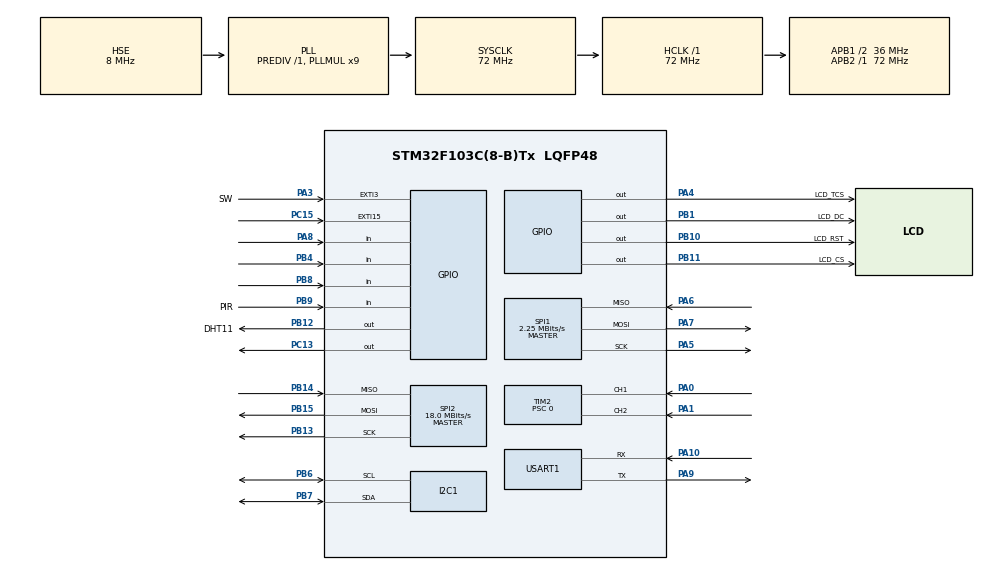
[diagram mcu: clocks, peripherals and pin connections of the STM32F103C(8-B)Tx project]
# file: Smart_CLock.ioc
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Dma.Request0=SPI2_TX
Dma.SPI2_TX.0.Direction=DMA_MEMORY_TO_PERIPH
Dma.SPI2_TX.0.Instance=DMA1_Channel5
Dma.SPI2_TX.0.MemDataAlignment=DMA_MDATAALIGN_BYTE
Dma.SPI2_TX.0.MemInc=DMA_MINC_ENABLE
Dma.SPI2_TX.0.Mode=DMA_NORMAL
Dma.SPI2_TX.0.PeriphDataAlignment=DMA_PDATAALIGN_BYTE
Dma.SPI2_TX.0.PeriphInc=DMA_PINC_DISABLE
Dma.SPI2_TX.0.Priority=DMA_PRIORITY_LOW
Mcu.Family=STM32F1
Mcu.Name=STM32F103C(8-B)Tx
Mcu.Package=LQFP48
NVIC.DMA1_Channel5_IRQn=true\:0\:0\:false\:false\:true\:false\:true\:true
NVIC.EXTI15_10_IRQn=true\:0\:0\:false\:false\:true\:true\:true\:true
NVIC.PriorityGroup=NVIC_PRIORITYGROUP_4
NVIC.TIM2_IRQn=true\:0\:0\:false\:false\:true\:true\:true\:true
PA0-WKUP.Signal=S_TIM2_CH1_ETR
PA1.Signal=S_TIM2_CH2
PA10.Mode=Asynchronous
PA10.Signal=USART1_RX
PA13.Mode=Serial_Wire
PA13.Signal=SYS_JTMS-SWDIO
PA14.Mode=Serial_Wire
PA14.Signal=SYS_JTCK-SWCLK
PA3.GPIO_Label=SW
PA3.Signal=GPXTI3
PA4.GPIO_Label=LCD_TCS
PA4.GPIO_PuPd=GPIO_PULLUP
PA4.Signal=GPIO_Output
PA5.Mode=Full_Duplex_Master
PA5.Signal=SPI1_SCK
PA6.Mode=Full_Duplex_Master
PA6.Signal=SPI1_MISO
PA7.Mode=Full_Duplex_Master
PA7.Signal=SPI1_MOSI
PA8.Signal=GPIO_Input
PA9.Mode=Asynchronous
PA9.Signal=USART1_TX
PB1.GPIO_Label=LCD_DC
PB1.Signal=GPIO_Output
PB10.GPIO_Label=LCD_RST
PB10.Signal=GPIO_Output
PB11.GPIO_Label=LCD_CS
PB11.Signal=GPIO_Output
PB12.GPIO_Label=DHT11
PB12.Signal=GPIO_Output
PB13.Mode=Full_Duplex_Master
PB13.Signal=SPI2_SCK
PB14.Mode=Full_Duplex_Master
PB14.Signal=SPI2_MISO
PB15.Mode=Full_Duplex_Master
PB15.Signal=SPI2_MOSI
PB4.Signal=GPIO_Input
PB6.Mode=I2C
PB6.Signal=I2C1_SCL
PB7.Mode=I2C
PB7.Signal=I2C1_SDA
PB8.Signal=GPIO_Input
PB9.GPIO_Label=PIR
PB9.Signal=GPIO_Input
PC13-TAMPER-RTC.Signal=GPIO_Output
PC15-OSC32_OUT.Signal=GPXTI15
PD0-OSC_IN.Mode=HSE-External-Oscillator
PD0-OSC_IN.Signal=RCC_OSC_IN
PD1-OSC_OUT.Mode=HSE-External-Oscillator
PD1-OSC_OUT.Signal=RCC_OSC_OUT
ProjectManager.HeapSize=0x200
ProjectManager.StackSize=0x400
ProjectManager.TargetToolchain=STM32CubeIDE
RCC.AHBFreq_Value=72000000
RCC.APB1CLKDivider=RCC_HCLK_DIV2
RCC.APB1Freq_Value=36000000
RCC.APB1TimFreq_Value=72000000
RCC.APB2Freq_Value=72000000
RCC.APB2TimFreq_Value=72000000
RCC.HCLKFreq_Value=72000000
RCC.PLLMUL=RCC_PLL_MUL9
RCC.PLLSourceVirtual=RCC_PLLSOURCE_HSE
RCC.SYSCLKFreq_VALUE=72000000
RCC.SYSCLKSource=RCC_SYSCLKSOURCE_PLLCLK
RCC.USBFreq_Value=48000000
RCC.USBPrescaler=RCC_USBCLKSOURCE_PLL_DIV1_5
SH.S_TIM2_CH1_ETR.0=TIM2_CH1,Encoder_Interface
SH.S_TIM2_CH2.0=TIM2_CH2,Encoder_Interface
SPI1.BaudRatePrescaler=SPI_BAUDRATEPRESCALER_32
SPI1.CalculateBaudRate=2.25 MBits/s
SPI1.Direction=SPI_DIRECTION_2LINES
SPI1.Mode=SPI_MODE_MASTER
SPI1.VirtualType=VM_MASTER
SPI2.BaudRatePrescaler=SPI_BAUDRATEPRESCALER_2
SPI2.CalculateBaudRate=18.0 MBits/s
SPI2.Direction=SPI_DIRECTION_2LINES
SPI2.Mode=SPI_MODE_MASTER
SPI2.VirtualType=VM_MASTER
TIM2.EncoderMode=TIM_ENCODERMODE_TI12
TIM2.IC1Filter=0
TIM2.IC1Polarity=TIM_ICPOLARITY_FALLING
TIM2.IC2Filter=0
TIM2.IC2Polarity=TIM_ICPOLARITY_FALLING
TIM2.Prescaler=0
TIM3.Period=65535
TIM3.Prescaler=71
TIM4.Period=999
TIM4.Prescaler=71
USART1.VirtualMode=VM_ASYNC
VP_TIM3_VS_ClockSourceINT.Mode=Internal
VP_TIM4_VS_ClockSourceINT.Mode=Internal
board=custom

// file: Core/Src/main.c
/* USER CODE BEGIN Header */
/**
  ******************************************************************************
  * @file           : main.c
  * @brief          : Main program body
  ******************************************************************************
  * @attention
  *
  * Copyright (c) 2025 STMicroelectronics.
  * All rights reserved.
  *
  * This software is licensed under terms that can be found in the LICENSE file
  * in the root directory of this software component.
  * If no LICENSE file comes with this software, it is provided AS-IS.
  *
  ******************************************************************************
  */
/* USER CODE END Header */
#include "main.h"

/* USER CODE BEGIN Includes */
#include "Delay_us.h"
#include "DHT.h"
#include "ds3231_i2c.h"
#include "pir_am312.h"
#include "ili9341_display.h"
#include "ILI9341_GFX.h"
#include "ILI9341_STM32_Driver.h"
//#include "ili9341_touch.h"
//#include "touch.h"
/* USER CODE END Includes */

/* USER CODE BEGIN PD */
#define SELECT 				1
#define UNSELECT 			0
#define	BUZZER_ON  			0
#define BUZZER_OFF 			1
#define CURSOR_SIZE_X 		15
#define CURSOR_SIZE_Y 		23
#define ON 					1
#define OFF 				0
/* USER CODE END PD */

I2C_HandleTypeDef hi2c1;

SPI_HandleTypeDef hspi1;
SPI_HandleTypeDef hspi2;
DMA_HandleTypeDef hdma_spi2_tx;

TIM_HandleTypeDef htim2;
TIM_HandleTypeDef htim3;
TIM_HandleTypeDef htim4;

UART_HandleTypeDef huart1;

/* USER CODE BEGIN PV */
DS3231_I2C_HandleTypeDef p_DS3231;
DHT_HandleTypeDef hdht;

typedef enum {
	TIME_DISPLAY,
	SET_ALARM,
	SET_TIME,
	ALARM,
	SET_REPEAT_ALARM,
	MODE_MENU
} display_mode;

typedef enum {
	BUTTON_ON,
	BUTTON_OFF
} button_state;

typedef struct
{
	uint8_t second;
	uint8_t minute;
	uint8_t hour;
	uint8_t day;
	uint8_t date;
	uint8_t month;
	uint8_t year;
}Time;

Time time_now;
Time time_alarm;
Time time_adjust;

uint8_t updatetime;
uint8_t clear = ON;
uint16_t x_cursor;
uint16_t y_cursor;

uint8_t dht[5];
uint8_t hum;
uint8_t temp;

uint8_t remove_tick_x = 14;
uint8_t remove_tick_y = 10;
uint8_t tick[8]={0};

uint32_t blink_delay = 200;  //Default delay

// Bien dem cho Rotary Encoder
uint32_t rawCounter = 0;
uint16_t encoder_pos = 0;
uint16_t pre_encoder_pos = 0;

display_mode mode = TIME_DISPLAY;
/* USER CODE END PV */

void SystemClock_Config(void);
static void MX_GPIO_Init(void);
static void MX_DMA_Init(void);
static void MX_TIM2_Init(void);
static void MX_I2C1_Init(void);
static void MX_SPI1_Init(void);
static void MX_SPI2_Init(void);
static void MX_USART1_UART_Init(void);
static void MX_TIM3_Init(void);
static void MX_TIM4_Init(void);

/* USER CODE BEGIN 0 */
void HAL_TIM_IC_CaptureCallback(TIM_HandleTypeDef *htim)
{
	rawCounter = __HAL_TIM_GET_COUNTER(htim);
	encoder_pos  = (rawCounter/2)%21;  // Moi lan xoay tang 2 don vi; Dem tu 0-20
}
void HAL_GPIO_EXTI_Callback(uint16_t GPIO_Pin)
{
	if (GPIO_Pin == SW_Pin)
	{
	    if (HAL_GPIO_ReadPin(SW_GPIO_Port, SW_Pin) == GPIO_PIN_RESET)
	    {
	    	if (mode == TIME_DISPLAY)
	    	{
	    		mode = MODE_MENU;
	    		clear = ON;
	    	}
	    	if (mode == MODE_MENU)
	    	{
	    		if (y_cursor == 119)
	    		{
	    			mode = TIME_DISPLAY;
	    			clear = ON;
	    		}
	    		if (y_cursor == 144)
	    		{
	    			mode = SET_ALARM;
	    			clear = ON;
	    			x_cursor = 68;
	    			y_cursor = 120;
//	    			updatetime = ON;
	    		}
	    		if (y_cursor == 169)
	    		{
	    			mode = SET_TIME;
	    			clear = ON;
	    		}
	    	}
	    	if (mode == SET_ALARM)
	    	{
	    		if (x_cursor == 105 && y_cursor == 293)
	    		{
	    			mode = SET_REPEAT_ALARM;
	    			clear = ON;
	    			HAL_Delay(200);
	    		}
	    		else
	    		{
	    			ILI9341_move_cursor(&x_cursor, &y_cursor);
	    		}
	    	}
	    	if (mode == SET_REPEAT_ALARM)
	    	{
	    		select_unselect_the_day(x_cursor, y_cursor, tick, remove_tick_x, remove_tick_y);
	    	}
	    }
	 }
}
/* USER CODE END 0 */

int main(void)
{

  /* MCU Configuration--------------------------------------------------------*/

  /* Reset of all peripherals, Initializes the Flash interface and the Systick. */
  HAL_Init();

  /* Configure the system clock */
  SystemClock_Config();

  /* Initialize all configured peripherals */
  MX_GPIO_Init();
  MX_DMA_Init();
  MX_TIM2_Init();
  MX_I2C1_Init();
  MX_SPI1_Init();
  MX_SPI2_Init();
  MX_USART1_UART_Init();
  MX_TIM3_Init();
  MX_TIM4_Init();
  /* USER CODE BEGIN 2 */
  ds3231_i2c_init(&p_DS3231, &hi2c1, 0x68);
  PIR_AM312_Init(PIR_GPIO_Port, PIR_Pin);
  DELAY_US_Init(&htim3);
  DHT_Init(&hdht, DHT11, DHT11_GPIO_Port, DHT11_Pin);

  // Start Timer in Encoder mode
  HAL_TIM_Encoder_Start(&htim2, TIM_CHANNEL_ALL);

  ILI9341_Init();
  ILI9341_FillScreen(WHITE);

  time_now.hour = 10;
  time_now.minute = 30;
  time_now.second = 30;
  time_now.day = 1;
  time_now.date = 20;
  time_now.month = 02;
  time_now.year = 25;

  time_alarm.hour = 00;
  time_alarm.minute = 00;
  time_alarm.second = 00;
  time_alarm.day = 1;
  time_alarm.date = 00;
  time_alarm.month = 00;
  time_alarm.year = 00;

  time_adjust.hour = 00;
  time_adjust.minute = 00;
  time_adjust.second = 00;
  time_adjust.day = 1;
  time_adjust.date = 00;
  time_adjust.month = 00;
  time_adjust.year = 00;

  ds3231_set_time(&p_DS3231, time_now.hour, time_now.minute, time_now.second, time_now.day,
     		                 time_now.date, time_now.month, time_now.year);

  HAL_GPIO_WritePin(GPIOB, GPIO_PIN_0, BUZZER_OFF);

  /* USER CODE END 2 */

  /* Infinite loop */
  while (1)
  {

    /* USER CODE BEGIN 3 */
	// Ham doc Rotary Encoder
	HAL_TIM_IC_CaptureCallback(&htim2);

	HAL_GPIO_EXTI_Callback(SW_Pin);

//	  if ( pir_am312_get_data() == 1)
//	  {
//		  HAL_GPIO_WritePin(GPIOC, GPIO_PIN_13, GPIO_PIN_SET);
//	  }
//	  else
//	  {
//		  HAL_GPIO_WritePin(GPIOC, GPIO_PIN_13, GPIO_PIN_RESET);
//	  }

	switch (mode)
    {
	 	case MODE_MENU:
	 		if (clear == ON)
	 		{
	 			 x_cursor = 75;
	 			 y_cursor = 119;
	 			 ILI9341_FillScreen(WHITE);
	 			 //VE KHUNG
	 			 ILI9341_DrawthickHline(13, 47, 212, NAVY, 5);   // Canh tren
	 			 ILI9341_DrawthickHline(13, 280, 212, NAVY, 5); // Canh duoi
	 			 ILI9341_DrawthickVline(13, 47, 233, NAVY, 5);   // Canh ben trai
	 			 ILI9341_DrawthickVline(223, 47, 238, NAVY, 5); // Canh ben phai
	 			 ILI9341_DrawText("MENU", FONT6, 78, 65, RED, WHITE);
	 			 ILI9341_DrawText("TIME", FONT5, 82, 100, RED, WHITE);
	 			 ILI9341_DrawText("SET_ALARM", FONT5, 34, 125, RED, WHITE);
	 			 ILI9341_DrawText("SET_TIME", FONT5, 42, 150, RED, WHITE);
	 			 ILI9341_DrawText("", FONT5, 45, 175, RED, WHITE);
	 			 ILI9341_DrawText("", FONT5, 67, 200, RED, WHITE);
	 			 ILI9341_DrawText("", FONT5, 49, 225, RED, WHITE);
	 			 ILI9341_DrawText("", FONT5, 66, 250, RED, WHITE);

	 			 clear = OFF;
	 		}

	 		if (encoder_pos == pre_encoder_pos + 1)
	 		{
	 			move_cursor_down_in_repeat_alarm(&x_cursor, &y_cursor);
	 		}
	 		else if (encoder_pos == pre_encoder_pos - 1)
	 		{
	 			move_cursor_up_in_repeat_alarm(&x_cursor, &y_cursor);
	 		}
	 		pre_encoder_pos = encoder_pos;

	 		draw_cursor_in_repeat_alarm(x_cursor, y_cursor, 92, 3, GREEN);

	 	break;
	 	case TIME_DISPLAY:

	 		ds3231_read_time(&p_DS3231, &time_now.hour, &time_now.minute, &time_now.second,
	 			 	  	  		  	  	&time_now.day, &time_now.date, &time_now.month, &time_now.year);

	 		if (clear == ON)
	 		{
	 			ILI9341_FillScreen(WHITE);
	 			//VE KHUNG
	 			ILI9341_DrawthickHline(15, 47, 212, NAVY, 5);   // Canh tren
	 			ILI9341_DrawthickHline(15, 280, 212, NAVY, 5); // Canh duoi
	 			ILI9341_DrawthickVline(15, 47, 233, RED, 5);   // Canh ben trai
	 			ILI9341_DrawthickVline(223, 47, 238, NAVY, 5); // Canh ben phai
	 			ILI9341_DrawthickHline(15, 165, 212, NAVY, 5); // Canh o giua

	 			ILI9341_DrawText("TIME", FONT6, 89, 77, RED, WHITE);
	 			clear = OFF;
	 		 }

	 		send_time_to_ILI9341(time_now.hour, time_now.minute, time_now.second, 68, 120, RED, WHITE);
	 		send_date_to_ILI9341(time_now.date, time_now.month, time_now.year, 68, 240, RED, WHITE);
	 		ILI9341_DrawRectangle(23, 195, 195, 23, WHITE);
	 		send_day_to_ILI9341(time_now.day, RED, WHITE);

	 		HAL_Delay(1000);

	 	break;

		case SET_ALARM:

			if (clear == ON)
			{
				ILI9341_FillScreen(WHITE);
				//VE KHUNG
				ILI9341_DrawthickHline(15, 47, 212, NAVY, 5);   // Canh tren
				ILI9341_DrawthickHline(15, 302, 212, NAVY, 5); // Canh duoi
				ILI9341_DrawthickVline(15, 47, 255, NAVY, 5);   // Canh ben trai
				ILI9341_DrawthickVline(223, 47, 260, NAVY, 5); // Canh ben phai
				ILI9341_DrawthickHline(15, 165, 212, NAVY, 5); // Canh o giua

				ILI9341_DrawText("SET ALARM", FONT6, 32, 77, RED, WHITE);
				clear = OFF;
			}

			send_time_to_ILI9341(time_alarm.hour, time_alarm.minute, time_alarm.second, 68, 120, RED, WHITE);
			send_date_to_ILI9341(time_alarm.date, time_alarm.month, time_alarm.year, 68, 240, RED, WHITE);
			ILI9341_DrawRectangle(23, 195, 195, 23, WHITE);
			send_day_to_ILI9341(time_alarm.day, RED, WHITE);
			ILI9341_DrawText("OK", FONT6, 105, 270, RED, WHITE);

			if (encoder_pos == pre_encoder_pos + 1)
			{
				adjust_time_up(&time_alarm.hour, &time_alarm.minute, &time_alarm.second, &time_alarm.day,
					    	&time_alarm.date, &time_alarm.month, &time_alarm.year, x_cursor, y_cursor);
			}

			if (encoder_pos == pre_encoder_pos - 1)
			{
				adjust_time_down(&time_alarm.hour, &time_alarm.minute, &time_alarm.second, &time_alarm.day,
							   &time_alarm.date, &time_alarm.month, &time_alarm.year, x_cursor, y_cursor);
			}

			ILI9341_DrawCursor(x_cursor, y_cursor, CURSOR_SIZE_X, CURSOR_SIZE_Y, GREEN);

			HAL_Delay(1000);
		break;

		case SET_REPEAT_ALARM:

			if (clear == ON)
			{
				x_cursor = 78;
				y_cursor = 119;
				ILI9341_FillScreen(WHITE);
				//VE KHUNG
				ILI9341_DrawthickHline(13, 47, 212, NAVY, 5);   // Canh tren
				ILI9341_DrawthickHline(13, 280, 212, NAVY, 5); // Canh duoi
				ILI9341_DrawthickVline(13, 47, 233, NAVY, 5);   // Canh ben trai
				ILI9341_DrawthickVline(223, 47, 238, NAVY, 5); // Canh ben phai
				ILI9341_DrawText("REPEAT", FONT6, 64, 65, RED, WHITE);
				ILI9341_DrawText("MONDAY", FONT5, 60, 100, RED, WHITE);
				ILI9341_DrawText("TUESDAY", FONT5, 55, 125, RED, WHITE);
				ILI9341_DrawText("WEDNESDAY", FONT5, 19, 150, RED, WHITE);
				ILI9341_DrawText("THURSDAY", FONT5, 45, 175, RED, WHITE);
				ILI9341_DrawText("FRIDAY", FONT5, 67, 200, RED, WHITE);
				ILI9341_DrawText("SATURDAY", FONT5, 49, 225, RED, WHITE);
				ILI9341_DrawText("SUNDAY", FONT5, 66, 250, RED, WHITE);

				clear = OFF;
				}

			if (encoder_pos == pre_encoder_pos + 1)
			{
				move_cursor_down_in_repeat_alarm(&x_cursor, &y_cursor);
			}
			else if (encoder_pos == pre_encoder_pos - 1)
			{
				move_cursor_up_in_repeat_alarm(&x_cursor, &y_cursor);
			}
			pre_encoder_pos = encoder_pos;

			draw_cursor_in_repeat_alarm(x_cursor, y_cursor, 92, 3, GREEN);

//				 		enterbutton = HAL_GPIO_ReadPin(GPIOA, GPIO_PIN_11);
//				 		if (enterbutton == BUTTON_ON)
//				 		{
//				 			mode = SET_TIME;
//				 			updatetime = ON;
//				 			clear = ON;
//				 			x_cursor = 68;
//				 			y_cursor = 120;
//				 		}

			 HAL_Delay(1000);

		break;

		case SET_TIME:

			ILI9341_FillScreen(WHITE);

		break;

		case ALARM:

			ILI9341_FillScreen(WHITE);

		break;
		}

	     DHT_Read_Value(&hdht);
	     hum = hdht.huminity;
	     temp = hdht.temperature;

  }
  /* USER CODE END 3 */
}

void SystemClock_Config(void)
{
  RCC_OscInitTypeDef RCC_OscInitStruct = {0};
  RCC_ClkInitTypeDef RCC_ClkInitStruct = {0};

  /** Initializes the RCC Oscillators according to the specified parameters
  * in the RCC_OscInitTypeDef structure.
  */
  RCC_OscInitStruct.OscillatorType = RCC_OSCILLATORTYPE_HSE;
  RCC_OscInitStruct.HSEState = RCC_HSE_ON;
  RCC_OscInitStruct.HSEPredivValue = RCC_HSE_PREDIV_DIV1;
  RCC_OscInitStruct.HSIState = RCC_HSI_ON;
  RCC_OscInitStruct.PLL.PLLState = RCC_PLL_ON;
  RCC_OscInitStruct.PLL.PLLSource = RCC_PLLSOURCE_HSE;
  RCC_OscInitStruct.PLL.PLLMUL = RCC_PLL_MUL9;
  if (HAL_RCC_OscConfig(&RCC_OscInitStruct) != HAL_OK)
  {
    Error_Handler();
  }

  /** Initializes the CPU, AHB and APB buses clocks
  */
  RCC_ClkInitStruct.ClockType = RCC_CLOCKTYPE_HCLK|RCC_CLOCKTYPE_SYSCLK
                              |RCC_CLOCKTYPE_PCLK1|RCC_CLOCKTYPE_PCLK2;
  RCC_ClkInitStruct.SYSCLKSource = RCC_SYSCLKSOURCE_PLLCLK;
  RCC_ClkInitStruct.AHBCLKDivider = RCC_SYSCLK_DIV1;
  RCC_ClkInitStruct.APB1CLKDivider = RCC_HCLK_DIV2;
  RCC_ClkInitStruct.APB2CLKDivider = RCC_HCLK_DIV1;

  if (HAL_RCC_ClockConfig(&RCC_ClkInitStruct, FLASH_LATENCY_2) != HAL_OK)
  {
    Error_Handler();
  }
}

static void MX_I2C1_Init(void)
{

  hi2c1.Instance = I2C1;
  hi2c1.Init.ClockSpeed = 100000;
  hi2c1.Init.DutyCycle = I2C_DUTYCYCLE_2;
  hi2c1.Init.OwnAddress1 = 0;
  hi2c1.Init.AddressingMode = I2C_ADDRESSINGMODE_7BIT;
  hi2c1.Init.DualAddressMode = I2C_DUALADDRESS_DISABLE;
  hi2c1.Init.OwnAddress2 = 0;
  hi2c1.Init.GeneralCallMode = I2C_GENERALCALL_DISABLE;
  hi2c1.Init.NoStretchMode = I2C_NOSTRETCH_DISABLE;
  if (HAL_I2C_Init(&hi2c1) != HAL_OK)
  {
    Error_Handler();
  }

}

static void MX_SPI1_Init(void)
{

  /* SPI1 parameter configuration*/
  hspi1.Instance = SPI1;
  hspi1.Init.Mode = SPI_MODE_MASTER;
  hspi1.Init.Direction = SPI_DIRECTION_2LINES;
  hspi1.Init.DataSize = SPI_DATASIZE_8BIT;
  hspi1.Init.CLKPolarity = SPI_POLARITY_LOW;
  hspi1.Init.CLKPhase = SPI_PHASE_1EDGE;
  hspi1.Init.NSS = SPI_NSS_SOFT;
  hspi1.Init.BaudRatePrescaler = SPI_BAUDRATEPRESCALER_32;
  hspi1.Init.FirstBit = SPI_FIRSTBIT_MSB;
  hspi1.Init.TIMode = SPI_TIMODE_DISABLE;
  hspi1.Init.CRCCalculation = SPI_CRCCALCULATION_DISABLE;
  hspi1.Init.CRCPolynomial = 10;
  if (HAL_SPI_Init(&hspi1) != HAL_OK)
  {
    Error_Handler();
  }

}

static void MX_SPI2_Init(void)
{

  /* SPI2 parameter configuration*/
  hspi2.Instance = SPI2;
  hspi2.Init.Mode = SPI_MODE_MASTER;
  hspi2.Init.Direction = SPI_DIRECTION_2LINES;
  hspi2.Init.DataSize = SPI_DATASIZE_8BIT;
  hspi2.Init.CLKPolarity = SPI_POLARITY_LOW;
  hspi2.Init.CLKPhase = SPI_PHASE_1EDGE;
  hspi2.Init.NSS = SPI_NSS_SOFT;
  hspi2.Init.BaudRatePrescaler = SPI_BAUDRATEPRESCALER_2;
  hspi2.Init.FirstBit = SPI_FIRSTBIT_MSB;
  hspi2.Init.TIMode = SPI_TIMODE_DISABLE;
  hspi2.Init.CRCCalculation = SPI_CRCCALCULATION_DISABLE;
  hspi2.Init.CRCPolynomial = 10;
  if (HAL_SPI_Init(&hspi2) != HAL_OK)
  {
    Error_Handler();
  }

}

static void MX_TIM2_Init(void)
{

  TIM_Encoder_InitTypeDef sConfig = {0};
  TIM_MasterConfigTypeDef sMasterConfig = {0};

  htim2.Instance = TIM2;
  htim2.Init.Prescaler = 0;
  htim2.Init.CounterMode = TIM_COUNTERMODE_UP;
  htim2.Init.Period = 65535;
  htim2.Init.ClockDivision = TIM_CLOCKDIVISION_DIV1;
  htim2.Init.AutoReloadPreload = TIM_AUTORELOAD_PRELOAD_DISABLE;
  sConfig.EncoderMode = TIM_ENCODERMODE_TI12;
  sConfig.IC1Polarity = TIM_ICPOLARITY_FALLING;
  sConfig.IC1Selection = TIM_ICSELECTION_DIRECTTI;
  sConfig.IC1Prescaler = TIM_ICPSC_DIV1;
  sConfig.IC1Filter = 0;
  sConfig.IC2Polarity = TIM_ICPOLARITY_FALLING;
  sConfig.IC2Selection = TIM_ICSELECTION_DIRECTTI;
  sConfig.IC2Prescaler = TIM_ICPSC_DIV1;
  sConfig.IC2Filter = 0;
  if (HAL_TIM_Encoder_Init(&htim2, &sConfig) != HAL_OK)
  {
    Error_Handler();
  }
  sMasterConfig.MasterOutputTrigger = TIM_TRGO_RESET;
  sMasterConfig.MasterSlaveMode = TIM_MASTERSLAVEMODE_DISABLE;
  if (HAL_TIMEx_MasterConfigSynchronization(&htim2, &sMasterConfig) != HAL_OK)
  {
    Error_Handler();
  }

}

static void MX_TIM3_Init(void)
{

  TIM_ClockConfigTypeDef sClockSourceConfig = {0};
  TIM_MasterConfigTypeDef sMasterConfig = {0};

  htim3.Instance = TIM3;
  htim3.Init.Prescaler = 71;
  htim3.Init.CounterMode = TIM_COUNTERMODE_UP;
  htim3.Init.Period = 65535;
  htim3.Init.ClockDivision = TIM_CLOCKDIVISION_DIV1;
  htim3.Init.AutoReloadPreload = TIM_AUTORELOAD_PRELOAD_DISABLE;
  if (HAL_TIM_Base_Init(&htim3) != HAL_OK)
  {
    Error_Handler();
  }
  sClockSourceConfig.ClockSource = TIM_CLOCKSOURCE_INTERNAL;
  if (HAL_TIM_ConfigClockSource(&htim3, &sClockSourceConfig) != HAL_OK)
  {
    Error_Handler();
  }
  sMasterConfig.MasterOutputTrigger = TIM_TRGO_RESET;
  sMasterConfig.MasterSlaveMode = TIM_MASTERSLAVEMODE_DISABLE;
  if (HAL_TIMEx_MasterConfigSynchronization(&htim3, &sMasterConfig) != HAL_OK)
  {
    Error_Handler();
  }

}

static void MX_TIM4_Init(void)
{

  TIM_ClockConfigTypeDef sClockSourceConfig = {0};
  TIM_MasterConfigTypeDef sMasterConfig = {0};

  htim4.Instance = TIM4;
  htim4.Init.Prescaler = 71;
  htim4.Init.CounterMode = TIM_COUNTERMODE_UP;
  htim4.Init.Period = 999;
  htim4.Init.ClockDivision = TIM_CLOCKDIVISION_DIV1;
  htim4.Init.AutoReloadPreload = TIM_AUTORELOAD_PRELOAD_DISABLE;
  if (HAL_TIM_Base_Init(&htim4) != HAL_OK)
  {
    Error_Handler();
  }
  sClockSourceConfig.ClockSource = TIM_CLOCKSOURCE_INTERNAL;
  if (HAL_TIM_ConfigClockSource(&htim4, &sClockSourceConfig) != HAL_OK)
  {
    Error_Handler();
  }
  sMasterConfig.MasterOutputTrigger = TIM_TRGO_RESET;
  sMasterConfig.MasterSlaveMode = TIM_MASTERSLAVEMODE_DISABLE;
  if (HAL_TIMEx_MasterConfigSynchronization(&htim4, &sMasterConfig) != HAL_OK)
  {
    Error_Handler();
  }

}

static void MX_USART1_UART_Init(void)
{

  huart1.Instance = USART1;
  huart1.Init.BaudRate = 115200;
  huart1.Init.WordLength = UART_WORDLENGTH_8B;
  huart1.Init.StopBits = UART_STOPBITS_1;
  huart1.Init.Parity = UART_PARITY_NONE;
  huart1.Init.Mode = UART_MODE_TX_RX;
  huart1.Init.HwFlowCtl = UART_HWCONTROL_NONE;
  huart1.Init.OverSampling = UART_OVERSAMPLING_16;
  if (HAL_UART_Init(&huart1) != HAL_OK)
  {
    Error_Handler();
  }

}

static void MX_DMA_Init(void)
{

  /* DMA controller clock enable */
  __HAL_RCC_DMA1_CLK_ENABLE();

  /* DMA interrupt init */
  /* DMA1_Channel5_IRQn interrupt configuration */
  HAL_NVIC_SetPriority(DMA1_Channel5_IRQn, 0, 0);
  HAL_NVIC_EnableIRQ(DMA1_Channel5_IRQn);

}

static void MX_GPIO_Init(void)
{
  GPIO_InitTypeDef GPIO_InitStruct = {0};

  /* GPIO Ports Clock Enable */
  __HAL_RCC_GPIOC_CLK_ENABLE();
  __HAL_RCC_GPIOD_CLK_ENABLE();
  __HAL_RCC_GPIOA_CLK_ENABLE();
  __HAL_RCC_GPIOB_CLK_ENABLE();

  /*Configure GPIO pin Output Level */
  HAL_GPIO_WritePin(GPIOC, GPIO_PIN_13, GPIO_PIN_RESET);

  /*Configure GPIO pin Output Level */
  HAL_GPIO_WritePin(LCD_TCS_GPIO_Port, LCD_TCS_Pin, GPIO_PIN_RESET);

  /*Configure GPIO pin Output Level */
  HAL_GPIO_WritePin(GPIOB, LCD_DC_Pin|LCD_RST_Pin|LCD_CS_Pin|DHT11_Pin, GPIO_PIN_RESET);

  /*Configure GPIO pin : PC13 */
  GPIO_InitStruct.Pin = GPIO_PIN_13;
  GPIO_InitStruct.Mode = GPIO_MODE_OUTPUT_PP;
  GPIO_InitStruct.Pull = GPIO_NOPULL;
  GPIO_InitStruct.Speed = GPIO_SPEED_FREQ_LOW;
  HAL_GPIO_Init(GPIOC, &GPIO_InitStruct);

  /*Configure GPIO pin : PC15 */
  GPIO_InitStruct.Pin = GPIO_PIN_15;
  GPIO_InitStruct.Mode = GPIO_MODE_IT_RISING;
  GPIO_InitStruct.Pull = GPIO_NOPULL;
  HAL_GPIO_Init(GPIOC, &GPIO_InitStruct);

  /*Configure GPIO pin : SW_Pin */
  GPIO_InitStruct.Pin = SW_Pin;
  GPIO_InitStruct.Mode = GPIO_MODE_IT_RISING;
  GPIO_InitStruct.Pull = GPIO_NOPULL;
  HAL_GPIO_Init(SW_GPIO_Port, &GPIO_InitStruct);

  /*Configure GPIO pin : LCD_TCS_Pin */
  GPIO_InitStruct.Pin = LCD_TCS_Pin;
  GPIO_InitStruct.Mode = GPIO_MODE_OUTPUT_PP;
  GPIO_InitStruct.Pull = GPIO_PULLUP;
  GPIO_InitStruct.Speed = GPIO_SPEED_FREQ_LOW;
  HAL_GPIO_Init(LCD_TCS_GPIO_Port, &GPIO_InitStruct);

  /*Configure GPIO pins : LCD_DC_Pin LCD_RST_Pin LCD_CS_Pin DHT11_Pin */
  GPIO_InitStruct.Pin = LCD_DC_Pin|LCD_RST_Pin|LCD_CS_Pin|DHT11_Pin;
  GPIO_InitStruct.Mode = GPIO_MODE_OUTPUT_PP;
  GPIO_InitStruct.Pull = GPIO_NOPULL;
  GPIO_InitStruct.Speed = GPIO_SPEED_FREQ_LOW;
  HAL_GPIO_Init(GPIOB, &GPIO_InitStruct);

  /*Configure GPIO pin : PA8 */
  GPIO_InitStruct.Pin = GPIO_PIN_8;
  GPIO_InitStruct.Mode = GPIO_MODE_INPUT;
  GPIO_InitStruct.Pull = GPIO_NOPULL;
  HAL_GPIO_Init(GPIOA, &GPIO_InitStruct);

  /*Configure GPIO pins : PB4 PB8 PIR_Pin */
  GPIO_InitStruct.Pin = GPIO_PIN_4|GPIO_PIN_8|PIR_Pin;
  GPIO_InitStruct.Mode = GPIO_MODE_INPUT;
  GPIO_InitStruct.Pull = GPIO_NOPULL;
  HAL_GPIO_Init(GPIOB, &GPIO_InitStruct);

  /* EXTI interrupt init*/
  HAL_NVIC_SetPriority(EXTI15_10_IRQn, 0, 0);
  HAL_NVIC_EnableIRQ(EXTI15_10_IRQn);

}

void Error_Handler(void)
{
  __disable_irq();
  while (1)
  {
  }
}
